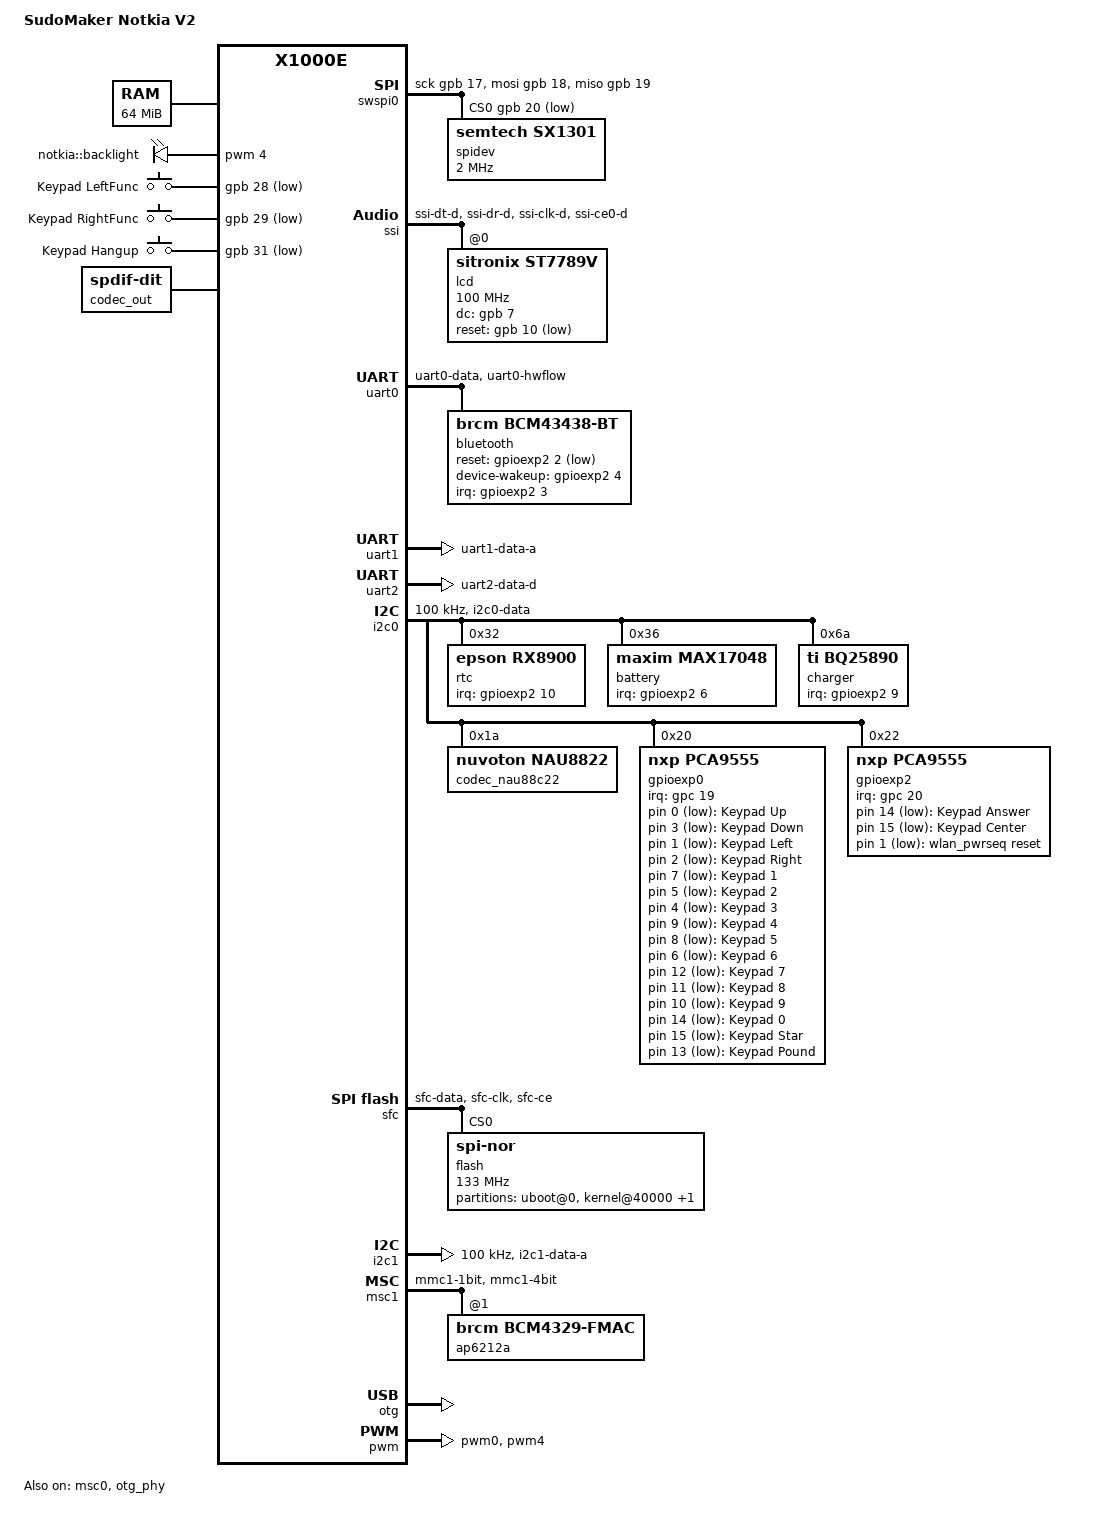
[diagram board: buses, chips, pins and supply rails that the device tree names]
// SPDX-License-Identifier: GPL-2.0
/dts-v1/;

#include "x1000.dtsi"
#include <dt-bindings/gpio/gpio.h>
#include <dt-bindings/input/input.h>
#include <dt-bindings/clock/ingenic,sysost.h>
#include <dt-bindings/interrupt-controller/irq.h>

/ {
	compatible = "sudomaker,notkia-v2", "ingenic,x1000e";
	model = "SudoMaker Notkia V2";

	aliases {
		serial2 = &uart2;
	};

	chosen {
		stdout-path = "serial2:115200n8";
	};

	memory {
		device_type = "memory";
		reg = <0x0 0x04000000>;
	};

	led-controller {
		compatible = "pwm-leds";

		led-bl {
			label = "notkia::backlight";
			pwms = <&pwm 4 6000000 0>;
			max-brightness = <31>;
			active-low;
		};

	};

	swspi0 {
		compatible = "spi-gpio";
		#address-cells = <1>;
		#size-cells = <0>;

		gpio-sck = <&gpb 17 0>;
		gpio-mosi = <&gpb 18 0>;
		gpio-miso = <&gpb 19 0>;

		num-chipselects = <1>;
		cs-gpios = <&gpb 20 GPIO_ACTIVE_LOW>;

		spidev@0 {
			compatible = "semtech,sx1301";
			reg = <0>;
			spi-max-frequency = <2000000>;
		};
	};

	gpio_keys {
		compatible = "gpio-keys";

		btn_lf {
			wakeup-source;
			label = "Keypad LeftFunc";
			linux,code = <KEY_F1>;
			gpios = <&gpb 28 GPIO_ACTIVE_LOW>;
		};

		btn_rf {
			wakeup-source;
			label = "Keypad RightFunc";
			linux,code = <KEY_F2>;
			gpios = <&gpb 29 GPIO_ACTIVE_LOW>;
		};

		btn_answer {
			wakeup-source;
			label = "Keypad Answer";
			linux,code = <KEY_F3>;
			gpios = <&gpioexp2 14 GPIO_ACTIVE_LOW>;
		};

		btn_hangup {
			wakeup-source;
			label = "Keypad Hangup";
			linux,code = <KEY_F4>;
			gpios = <&gpb 31 GPIO_ACTIVE_LOW>;
		};

		btn_up {
			wakeup-source;
			label = "Keypad Up";
			linux,code = <KEY_UP>;
			gpios = <&gpioexp0 0 GPIO_ACTIVE_LOW>;
		};

		btn_down {
			wakeup-source;
			label = "Keypad Down";
			linux,code = <KEY_DOWN>;
			gpios = <&gpioexp0 3 GPIO_ACTIVE_LOW>;
		};

		btn_left {
			wakeup-source;
			label = "Keypad Left";
			linux,code = <KEY_LEFT>;
			gpios = <&gpioexp0 1 GPIO_ACTIVE_LOW>;
		};

		btn_right {
			wakeup-source;
			label = "Keypad Right";
			linux,code = <KEY_RIGHT>;
			gpios = <&gpioexp0 2 GPIO_ACTIVE_LOW>;
		};

		btn_center {
			wakeup-source;
			label = "Keypad Center";
			linux,code = <KEY_ENTER>;
			gpios = <&gpioexp2 15 GPIO_ACTIVE_LOW>;
		};

		btn_1 {
			wakeup-source;
			label = "Keypad 1";
			linux,code = <KEY_1>;
			gpios = <&gpioexp0 7 GPIO_ACTIVE_LOW>;
		};

		btn_2 {
			wakeup-source;
			label = "Keypad 2";
			linux,code = <KEY_2>;
			gpios = <&gpioexp0 5 GPIO_ACTIVE_LOW>;
		};

		btn_3 {
			wakeup-source;
			label = "Keypad 3";
			linux,code = <KEY_3>;
			gpios = <&gpioexp0 4 GPIO_ACTIVE_LOW>;
		};

		btn_4 {
			wakeup-source;
			label = "Keypad 4";
			linux,code = <KEY_4>;
			gpios = <&gpioexp0 9 GPIO_ACTIVE_LOW>;
		};

		btn_5 {
			wakeup-source;
			label = "Keypad 5";
			linux,code = <KEY_5>;
			gpios = <&gpioexp0 8 GPIO_ACTIVE_LOW>;
		};

		btn_6 {
			wakeup-source;
			label = "Keypad 6";
			linux,code = <KEY_6>;
			gpios = <&gpioexp0 6 GPIO_ACTIVE_LOW>;
		};

		btn_7 {
			wakeup-source;
			label = "Keypad 7";
			linux,code = <KEY_7>;
			gpios = <&gpioexp0 12 GPIO_ACTIVE_LOW>;
		};

		btn_8 {
			wakeup-source;
			label = "Keypad 8";
			linux,code = <KEY_8>;
			gpios = <&gpioexp0 11 GPIO_ACTIVE_LOW>;
		};

		btn_9 {
			wakeup-source;
			label = "Keypad 9";
			linux,code = <KEY_9>;
			gpios = <&gpioexp0 10 GPIO_ACTIVE_LOW>;
		};

		btn_0 {
			wakeup-source;
			label = "Keypad 0";
			linux,code = <KEY_0>;
			gpios = <&gpioexp0 14 GPIO_ACTIVE_LOW>;
		};

		btn_star {
			wakeup-source;
			label = "Keypad Star";
			linux,code = <KEY_LEFTCTRL>;
			gpios = <&gpioexp0 15 GPIO_ACTIVE_LOW>;
		};

		btn_pound {
			wakeup-source;
			label = "Keypad Pound";
			linux,code = <KEY_LEFTSHIFT>;
			gpios = <&gpioexp0 13 GPIO_ACTIVE_LOW>;
		};

	};

	wlan_pwrseq: msc1-pwrseq {
			compatible = "mmc-pwrseq-simple";

			reset-gpios = <&gpioexp2 1 GPIO_ACTIVE_LOW>;
			post-power-on-delay-ms = <200>;
	};

	sound {
		compatible = "simple-audio-card";

		simple-audio-card,name = "x1000-aic";
		simple-audio-card,mclk-fs = <256>;

		status = "okay";

		playback_link: simple-audio-card,dai-link@1 {
				format = "i2s";

				bitclock-master = <&codec_nau88c22>;
				frame-master = <&codec_nau88c22>;

				p_cpu_dai: cpu {
					sound-dai = <&aic>;
				};

				p_codec_dai: codec {
					sound-dai = <&codec_nau88c22>;
				};
			};
	};

	codec_out: i2s-generic {
				#address-cells = <0>;
				#size-cells = <0>;
				#sound-dai-cells = <0>;
				compatible = "linux,spdif-dit";
				status = "okay";
	};
};

&exclk {
	clock-frequency = <24000000>;
};

&cgu {
	assigned-clocks = <&cgu X1000_CLK_SSIMUX>, <&cgu X1000_CLK_RTC>, <&cgu X1000_CLK_I2S>;
	assigned-clock-parents = <&cgu X1000_CLK_SSIPLL_DIV2>, <&cgu X1000_CLK_EXCLK_DIV512>, <&cgu X1000_CLK_MPLL>;
};

&ost {
	/* 1500 kHz for the system timer and clocksource */
	assigned-clocks = <&ost OST_CLK_EVENT_TIMER>, <&ost OST_CLK_GLOBAL_TIMER>;
	assigned-clock-rates = <1500000>, <1500000>;
};

&aic {
	pinctrl-names = "default";
	pinctrl-0 = <&pins_i2s>;
};

&ssi {
	status = "okay";

	pinctrl-names = "default";
	pinctrl-0 = <&pins_spi0>;

	num-cs = <1>;
	cs-gpios = <0>;

	lcd: lcd@0 {
		compatible = "sitronix,st7789v";
		reg = <0>;
		spi-max-frequency = <100000000>;
		rotate = <180>;
		//width = <240>;
		//height = <320>;
		txbuflen = <16256>;
		buswidth = <8>;
		fps = <30>;
		dc-gpios = <&gpb 7 0>;
		reset-gpios = <&gpb 10 GPIO_ACTIVE_LOW>;
		debug = <0x4000000>;

		init = <
		0x01000011	// SLPOUT
		0x02000078
		0x0100003A 0x05	// COLMOD

		0x01000021	// INVON
		0x01000029	// DISPON
		>;

	};

};

&uart0 {
		status = "okay";

		pinctrl-names = "default";
		pinctrl-0 = <&pins_uart0>;

		uart-has-rtscts;

		bluetooth {
			compatible = "brcm,bcm43438-bt";
			max-speed = <1000000>;
			brcm,bt-pcm-int-params = [01 02 00 01 01];
			reset-gpios = <&gpioexp2 2 GPIO_ACTIVE_LOW>;
			device-wakeup-gpios = <&gpioexp2 4 GPIO_ACTIVE_HIGH>;
			interrupt-parent = <&gpioexp2>;
			interrupts = <3 IRQ_TYPE_EDGE_FALLING>;
		};
};

&uart1 {
	status = "okay";

	pinctrl-names = "default";
	pinctrl-0 = <&pins_uart1>;
};

&uart2 {
	status = "okay";

	pinctrl-names = "default";
	pinctrl-0 = <&pins_uart2>;
};

&i2c0 {
	status = "okay";

	clock-frequency = <100000>;

	pinctrl-names = "default";
	pinctrl-0 = <&pins_i2c0>;

	rtc@32 {
		compatible = "epson,rx8900";
		reg = <0x32>;

		interrupt-parent = <&gpioexp2>;
		interrupts = <10 IRQ_TYPE_EDGE_FALLING>;
		wakeup-source;

		epson,vdet-disable;
		trickle-diode-disable;
	};

	battery@36 {
		compatible = "maxim,max17048";
		reg = <0x36>;

		interrupt-parent = <&gpioexp2>;
		interrupts = <6 IRQ_TYPE_EDGE_FALLING>;
		wakeup-source;

		maxim,alert-low-soc-level = <10>;
	};

	charger@6a {
		compatible = "ti,bq25890";
		reg = <0x6a>;

		interrupt-parent = <&gpioexp2>;
		interrupts = <9 IRQ_TYPE_EDGE_FALLING>;
		wakeup-source;

		ti,battery-regulation-voltage = <4200000>;
		ti,charge-current = <500000>;
		ti,termination-current = <25000>;
		ti,precharge-current = <50000>;
		ti,minimum-sys-voltage = <3600000>;
		ti,boost-voltage = <5100000>;
		ti,boost-max-current = <2400000>;
		ti,thermal-regulation-threshold = <120>;
	};

	codec_nau88c22: nau88c22@1a {
		compatible = "nuvoton,nau8822";
		reg = <0x1a>;

		#sound-dai-cells = <0>;
	};

	gpioexp0: pca9555@20 {
		compatible = "nxp,pca9555";
		reg = <0x20>;
		gpio-controller;
		wakeup-source;
		#gpio-cells = <2>;
		interrupt-parent = <&gpc>;
		interrupts = <19 IRQ_TYPE_EDGE_FALLING>;
		interrupt-controller;
		#interrupt-cells = <2>;
	};

	gpioexp2: pca9555@22 {
		compatible = "nxp,pca9555";
		reg = <0x22>;
		gpio-controller;
		wakeup-source;
		#gpio-cells = <2>;
		interrupt-parent = <&gpc>;
		interrupts = <20 IRQ_TYPE_EDGE_FALLING>;
		interrupt-controller;
		#interrupt-cells = <2>;
	};
};


&sfc {
	status = "okay";

	#address-cells = <1>;
	#size-cells = <0>;


	pinctrl-names = "default";
	pinctrl-0 = <&pins_sfc>;

	flash: spinor@0 {
		compatible = "jedec,spi-nor";
		spi-max-frequency = <133000000>;
		reg = <0>;

		spi-rx-bus-width = <4>;
		spi-tx-bus-width = <4>;

		partitions {
			compatible = "fixed-partitions";
			#address-cells = <1>;
			#size-cells = <1>;

			uboot@0 {
				reg = <0x0 0x40000>;
				read-only;
			};

			kernel@40000 {
				reg = <0x40000 0x300000>;
				read-only;
			};

			rootfs@840000 {
				reg = <0x340000 0x10000000>;
			};
		};
	};

};

&i2c1 {
	status = "okay";

	clock-frequency = <100000>;

	pinctrl-names = "default";
	pinctrl-0 = <&pins_i2c1>;
};

&msc0 {
	status = "okay";

	bus-width = <4>;
	max-frequency = <50000000>;

	pinctrl-names = "default";
	pinctrl-0 = <&pins_msc0>;

	non-removable;
};

&msc1 {
		status = "okay";

		#address-cells = <1>;
		#size-cells = <0>;
		bus-width = <4>;
		max-frequency = <25000000>;

		pinctrl-names = "default";
		pinctrl-0 = <&pins_msc1>;

		non-removable;
		keep-power-in-suspend;
		wakeup-source;

		mmc-pwrseq = <&wlan_pwrseq>;

		ap6212a: wifi@1 {
				compatible = "brcm,bcm4329-fmac";
				reg = <1>;

				//interrupt-parent = <&gpb>;
				//interrupts = <26 IRQ_TYPE_EDGE_FALLING>;
				//interrupt-names = "host-wake";
				wakeup-source;

				brcm,drive-strength = <10>;
		};
};

&otg_phy {
	status = "okay";
};

&otg {
	status = "okay";
	disable-over-current;
};

&pwm {
	status = "okay";

	pinctrl-names = "default";
	pinctrl-0 = <&pins_pwm0>, <&pins_pwm4>;
};

&pinctrl {
	pins_pwm0: pwm0 {
		function = "pwm0";
		groups = "pwm0";
	};

	pins_pwm4: pwm4 {
		function = "pwm4";
		groups = "pwm4";
	};

	pins_sfc: sfc {
		function = "sfc";
		groups = "sfc-data", "sfc-clk", "sfc-ce";
	};

	pins_spi0: spi0 {
			function = "ssi";
			groups = "ssi-dt-d", "ssi-dr-d", "ssi-clk-d", "ssi-ce0-d";
	};

	pins_uart0: uart0 {
		function = "uart0";
		groups = "uart0-data", "uart0-hwflow";
	};

	pins_uart1: uart1 {
		function = "uart1";
		groups = "uart1-data-a";
	};

	pins_uart2: uart2 {
		function = "uart2";
		groups = "uart2-data-d";
		bias-pull-up;
	};

	pins_i2c0: i2c0 {
		function = "i2c0";
		groups = "i2c0-data";
		bias-disable;
	};

	pins_i2c1: i2c1 {
		function = "i2c1";
		groups = "i2c1-data-a";
	};

	pins_i2s: i2s {
		function = "i2s";
		groups = "i2s-data-tx", "i2s-data-rx", "i2s-clk-txrx", "i2s-sysclk";
	};

	pins_msc0: msc0 {
		function = "mmc0";
		groups = "mmc0-1bit", "mmc0-4bit";
	};

	pins_msc1: msc1 {
		function = "mmc1";
		groups = "mmc1-1bit", "mmc1-4bit";
	};
};
